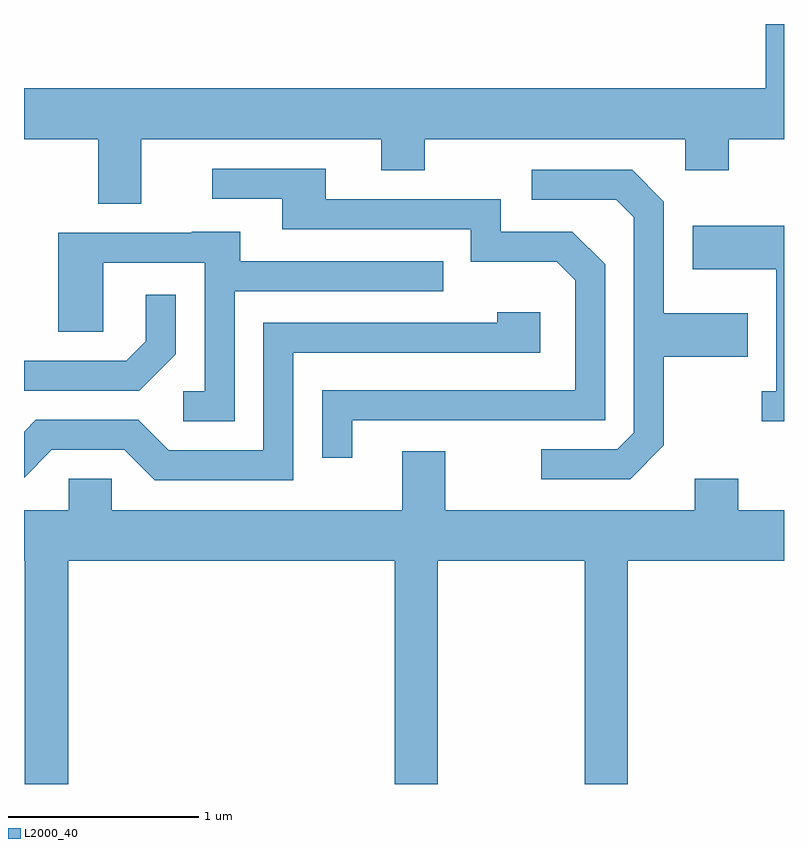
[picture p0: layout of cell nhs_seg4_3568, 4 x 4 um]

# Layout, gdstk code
import gdstk
lib = gdstk.Library(unit=1e-6, precision=1e-09)
def P(c, l, *ps):  # polygons
    for p in ps: c.add(gdstk.Polygon(p, *l))
L2000_40 = (2000, 40)

nhs_seg4_3568 = lib.new_cell('nhs_seg4_3568')
P(nhs_seg4_3568, L2000_40, [(290.229,1321.376),(291.491,1321.376),(291.491,1321.211),(291.719,1321.211),(291.719,1321.376),(293.091,1321.376),(293.091,1321.211),(293.319,1321.211),(293.319,1321.376),(293.611,1321.376),(293.611,1321.982),(293.516,1321.982),(293.516,1321.644),(289.611,1321.644),(289.611,1321.376),(290.001,1321.376),(290.001,1321.036),(290.229,1321.036)],
  [(291.339,1319.896),(292.669,1319.896),(292.669,1320.717),(292.497,1320.889),(292.119,1320.889),(292.119,1321.059),(291.199,1321.059),(291.199,1321.219),(290.603,1321.219),(290.603,1321.061),(290.971,1321.061),(290.971,1320.901),(291.961,1320.901),(291.961,1320.731),(292.414,1320.731),(292.511,1320.634),(292.511,1320.054),(291.181,1320.054),(291.181,1319.698),(291.339,1319.698)],
  [(292.979,1319.764),(292.979,1320.231),(293.419,1320.231),(293.419,1320.459),(292.979,1320.459),(292.979,1321.047),(292.812,1321.214),(292.283,1321.214),(292.283,1321.056),(292.729,1321.056),(292.821,1320.964),(292.821,1319.832),(292.734,1319.744),(292.333,1319.744),(292.333,1319.586),(292.802,1319.586)],
  [(293.611,1320.919),(293.131,1320.919),(293.131,1320.691),(293.571,1320.691),(293.571,1320.049),(293.493,1320.049),(293.493,1319.891),(293.611,1319.891)],
  [(290.719,1320.576),(291.818,1320.576),(291.818,1320.734),(290.749,1320.734),(290.749,1320.889),(290.495,1320.889),(290.495,1320.884),(289.791,1320.884),(289.791,1320.361),(290.029,1320.361),(290.029,1320.726),(290.561,1320.726),(290.561,1320.049),(290.448,1320.049),(290.448,1319.891),(290.719,1319.891)],
  [(290.409,1320.244),(290.409,1320.558),(290.251,1320.558),(290.251,1320.312),(290.149,1320.209),(289.611,1320.209),(289.611,1320.051),(290.217,1320.051)],
  [(291.029,1320.251),(292.329,1320.251),(292.329,1320.464),(292.101,1320.464),(292.101,1320.409),(290.871,1320.409),(290.871,1319.739),(290.372,1319.739),(290.212,1319.899),(289.674,1319.899),(289.611,1319.836),(289.611,1319.595),(289.757,1319.741),(290.139,1319.741),(290.299,1319.581),(291.029,1319.581)],
  [(289.844,1319.156),(291.561,1319.156),(291.561,1317.982),(291.789,1317.982),(291.789,1319.156),(292.561,1319.156),(292.561,1317.982),(292.789,1317.982),(292.789,1319.156),(293.611,1319.156),(293.611,1319.424),(293.369,1319.424),(293.369,1319.589),(293.141,1319.589),(293.141,1319.424),(291.829,1319.424),(291.829,1319.734),(291.601,1319.734),(291.601,1319.424),(290.074,1319.424),(290.074,1319.589),(289.846,1319.589),(289.846,1319.424),(289.611,1319.424),(289.611,1319.156),(289.616,1319.156),(289.616,1317.982),(289.844,1317.982)])

lib.write_gds('nhs_seg4_3568.gds')
